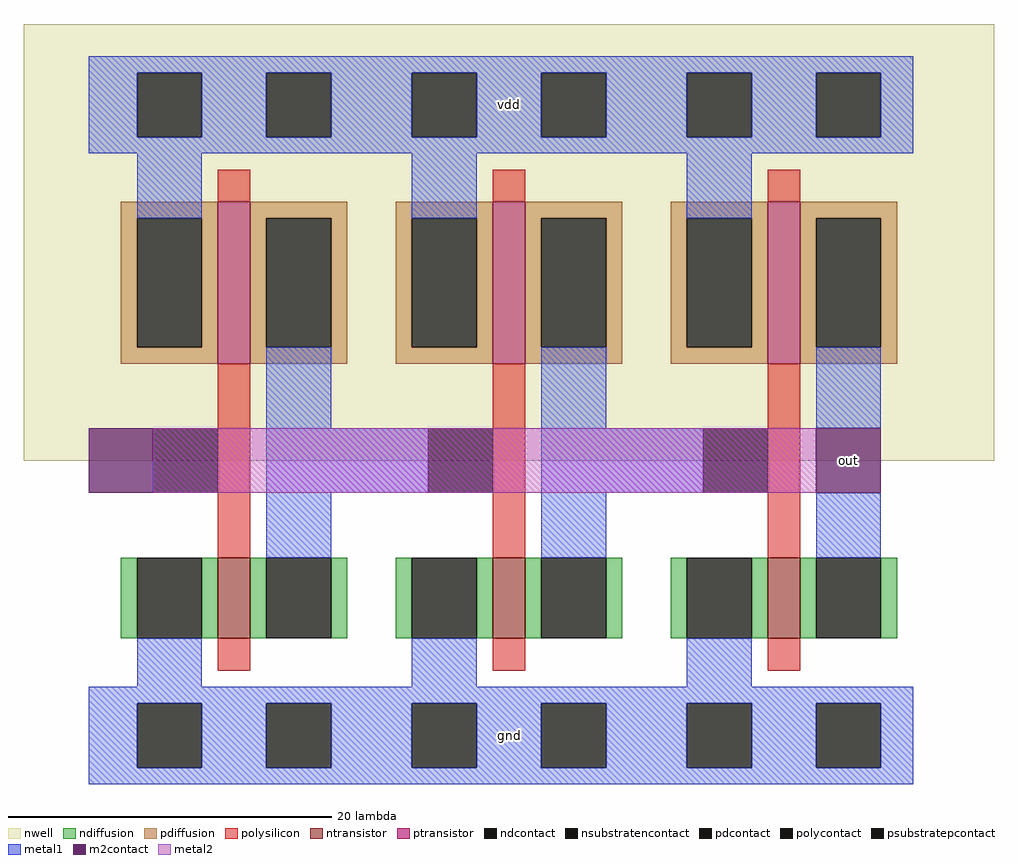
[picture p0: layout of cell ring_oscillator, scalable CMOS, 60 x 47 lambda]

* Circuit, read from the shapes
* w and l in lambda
.subckt ring_oscillator gnd out vdd
M1 n1 out gnd gnd nfet w=5 l=2
M2 n2 n1 gnd gnd nfet w=5 l=2
M3 out n2 gnd gnd nfet w=5 l=2
M4 n1 out vdd vdd pfet w=10 l=2
M5 n2 n1 vdd vdd pfet w=10 l=2
M6 out n2 vdd vdd pfet w=10 l=2
.ends

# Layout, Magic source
magic
tech scmos
<< nwell >>
rect 35 20 95 47
<< ntransistor >>
rect 47 9 49 14
rect 64 9 66 14
rect 81 9 83 14
<< ptransistor >>
rect 47 26 49 36
rect 64 26 66 36
rect 81 26 83 36
<< ndiffusion >>
rect 41 9 42 14
rect 46 9 47 14
rect 49 9 50 14
rect 54 9 55 14
rect 58 9 59 14
rect 63 9 64 14
rect 66 9 67 14
rect 71 9 72 14
rect 75 9 76 14
rect 80 9 81 14
rect 83 9 84 14
rect 88 9 89 14
<< pdiffusion >>
rect 41 35 47 36
rect 41 27 42 35
rect 46 27 47 35
rect 41 26 47 27
rect 49 35 55 36
rect 49 27 50 35
rect 54 27 55 35
rect 49 26 55 27
rect 58 35 64 36
rect 58 27 59 35
rect 63 27 64 35
rect 58 26 64 27
rect 66 35 72 36
rect 66 27 67 35
rect 71 27 72 35
rect 66 26 72 27
rect 75 35 81 36
rect 75 27 76 35
rect 80 27 81 35
rect 75 26 81 27
rect 83 35 89 36
rect 83 27 84 35
rect 88 27 89 35
rect 83 26 89 27
<< ndcontact >>
rect 42 9 46 14
rect 50 9 54 14
rect 59 9 63 14
rect 67 9 71 14
rect 76 9 80 14
rect 84 9 88 14
<< pdcontact >>
rect 42 27 46 35
rect 50 27 54 35
rect 59 27 63 35
rect 67 27 71 35
rect 76 27 80 35
rect 84 27 88 35
<< psubstratepcontact >>
rect 42 1 46 5
rect 50 1 54 5
rect 59 1 63 5
rect 67 1 71 5
rect 76 1 80 5
rect 84 1 88 5
<< nsubstratencontact >>
rect 42 40 46 44
rect 50 40 54 44
rect 59 40 63 44
rect 67 40 71 44
rect 76 40 80 44
rect 84 40 88 44
<< polysilicon >>
rect 47 36 49 38
rect 64 36 66 38
rect 81 36 83 38
rect 47 14 49 26
rect 64 14 66 26
rect 81 14 83 26
rect 47 7 49 9
rect 64 7 66 9
rect 81 7 83 9
<< polycontact >>
rect 43 18 47 22
rect 60 18 64 22
rect 77 18 81 22
<< metal1 >>
rect 39 44 90 45
rect 39 40 42 44
rect 46 40 50 44
rect 54 40 59 44
rect 63 40 67 44
rect 71 40 76 44
rect 80 40 84 44
rect 88 40 90 44
rect 39 39 90 40
rect 42 35 46 39
rect 59 35 63 39
rect 76 35 80 39
rect 50 22 54 27
rect 67 22 71 27
rect 84 22 88 27
rect 50 18 60 22
rect 67 18 77 22
rect 50 14 54 18
rect 67 14 71 18
rect 84 14 88 18
rect 42 6 46 9
rect 59 6 63 9
rect 76 6 80 9
rect 39 5 90 6
rect 39 1 42 5
rect 46 1 50 5
rect 54 1 59 5
rect 63 1 67 5
rect 71 1 76 5
rect 80 1 84 5
rect 88 1 90 5
rect 39 0 90 1
<< m2contact >>
rect 39 18 43 22
rect 84 18 88 22
<< metal2 >>
rect 43 18 84 22
<< labels >>
rlabel metal1 65 42 65 42 5 vdd
rlabel metal1 65 3 65 3 1 gnd
rlabel m2contact 86 20 86 20 1 out
<< end >>
